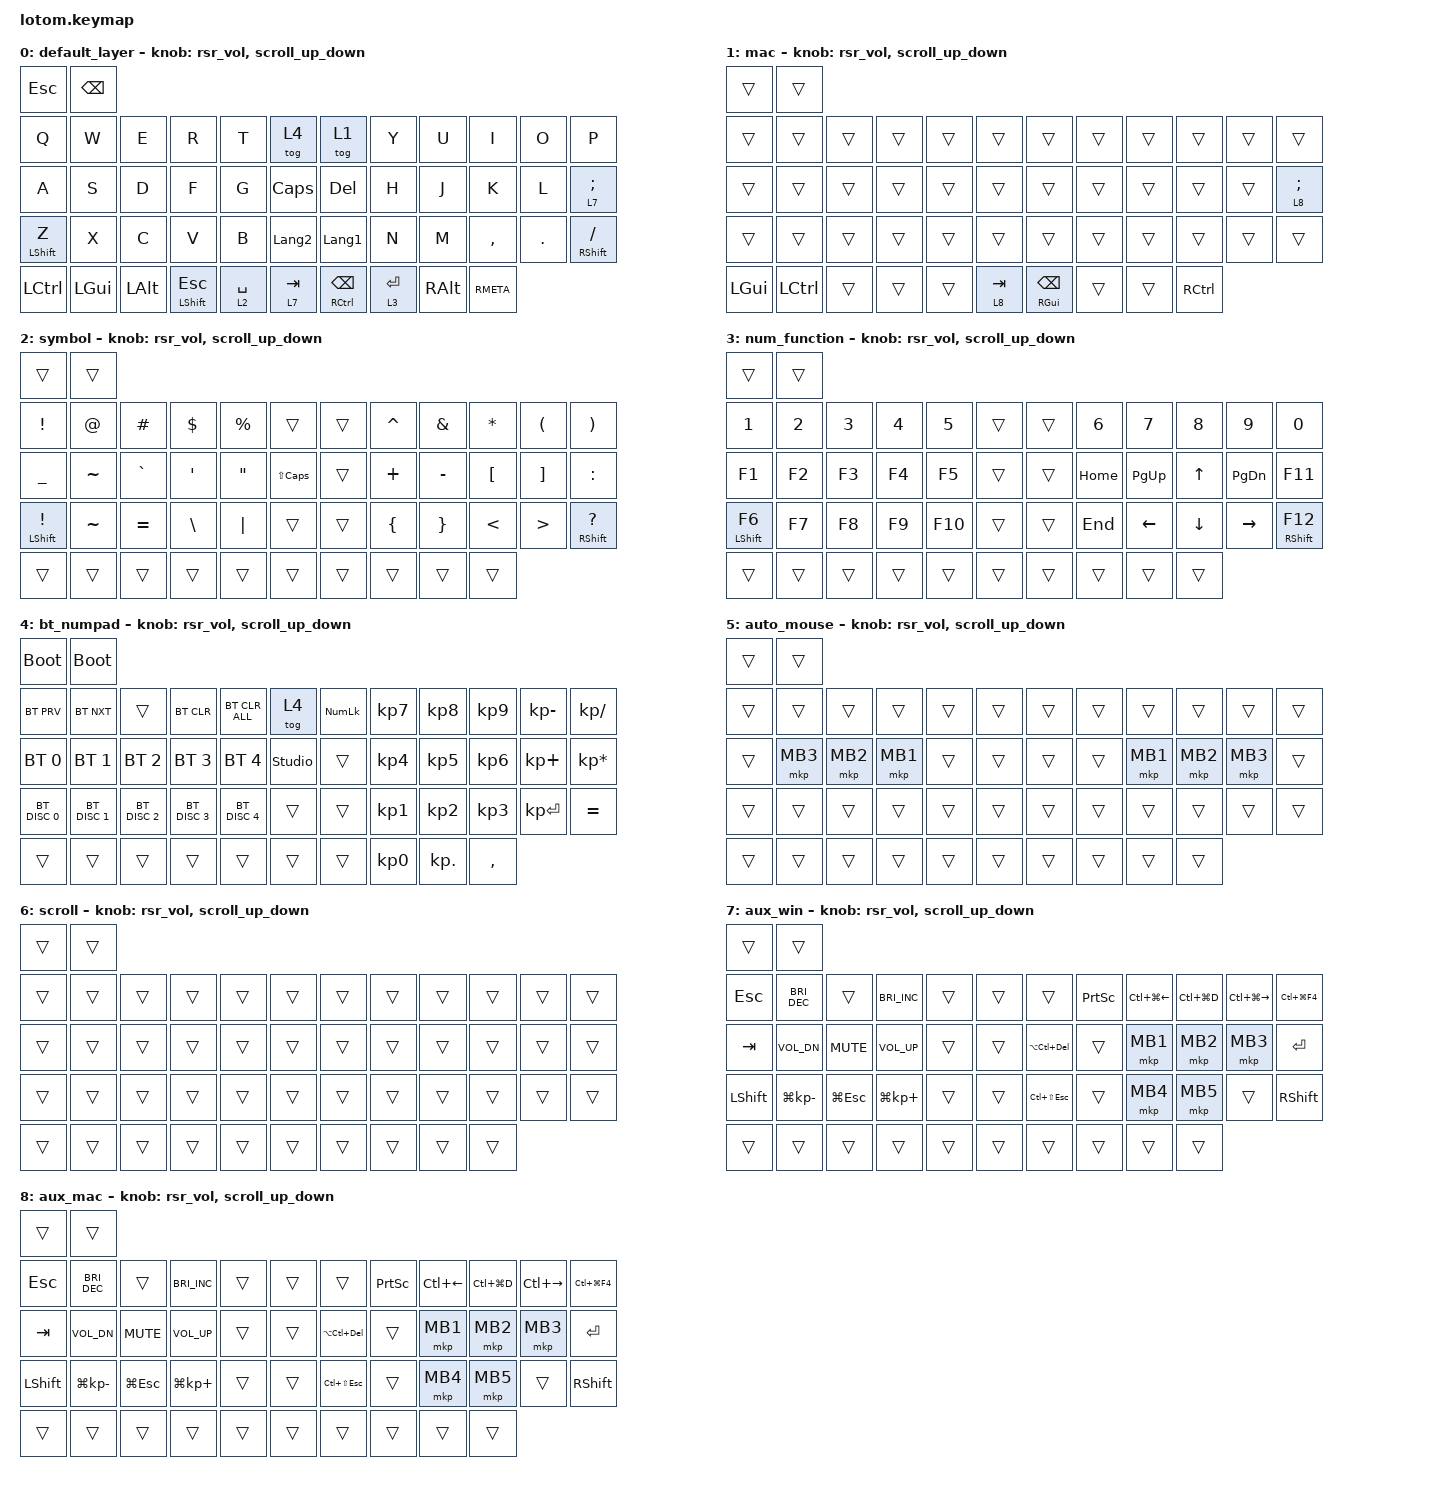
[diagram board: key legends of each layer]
#include <behaviors.dtsi>
#include <dt-bindings/zmk/bt.h>
#include <dt-bindings/zmk/keys.h>
#include <dt-bindings/zmk/pointing.h>
#include <behaviors/runtime-sensor-rotate.dtsi>

#define ZMK_POINTING_DEFAULT_SCRL_VAL 80

&mt {
    quick-tap-ms = <300>;
    flavor = "balanced";
};

&lt { quick-tap-ms = <300>; };

/ {
    behaviors {
        scroll_up_down: mouse_wheel_up_down {
            compatible = "zmk,behavior-runtime-sensor-rotate";
            #sensor-binding-cells = <0>;
            tap-ms = <20>;
            cw-binding = <&msc SCRL_DOWN>;
            ccw-binding = <&msc SCRL_UP>;
        };

        rsr_vol: rsr_vol {
            compatible = "zmk,behavior-runtime-sensor-rotate";
            #sensor-binding-cells = <0>;
            tap-ms = <5>;
            cw-binding = <&kp C_VOL_UP>;
            ccw-binding = <&kp C_VOL_DN>;
        };
    };

    combos {
        compatible = "zmk,combos";

        scroll {
            bindings = <&mo 6>;
            key-positions = <23 24>;
        };

        bs {
            bindings = <&kp BACKSPACE>;
            key-positions = <13 12>;
        };

        del {
            bindings = <&kp DELETE>;
            key-positions = <12 11>;
        };

        enter {
            bindings = <&kp ENTER>;
            key-positions = <25 24>;
        };

        esc {
            bindings = <&kp ESC>;
            key-positions = <2 3>;
        };

        tab {
            bindings = <&kp TAB>;
            key-positions = <14 15>;
        };

        s+tab {
            bindings = <&kp LS(TAB)>;
            key-positions = <26 27>;
        };

        lang2 {
            bindings = <&kp LANGUAGE_2>;
            key-positions = <17 16>;
        };

        lang1 {
            bindings = <&kp LANGUAGE_1>;
            key-positions = <22 23>;
        };
    };

    keymap {
        compatible = "zmk,keymap";

        default_layer {
            bindings = <
&kp ESCAPE   &kp BACKSPACE
&kp Q        &kp W          &kp E         &kp R                  &kp T        &tog 4          &tog 1               &kp Y        &kp U          &kp I      &kp O    &kp P
&kp A        &kp S          &kp D         &kp F                  &kp G        &kp CAPS        &kp DELETE           &kp H        &kp J          &kp K      &kp L    &lt 7 SEMICOLON
&mt LSHFT Z  &kp X          &kp C         &kp V                  &kp B        &kp LANGUAGE_2  &kp LANGUAGE_1       &kp N        &kp M          &kp COMMA  &kp DOT  &mt RSHFT SLASH
&kp LCTRL    &kp LEFT_GUI   &kp LEFT_ALT  &mt LEFT_SHIFT ESCAPE  &lt 2 SPACE  &lt 7 TAB       &mt RCTRL BACKSPACE  &lt 3 ENTER  &kp RIGHT_ALT  &kp RMETA
            >;

            sensor-bindings = <
                &rsr_vol
                &scroll_up_down
            >;
        };

        mac {
            bindings = <
&trans    &trans
&trans    &trans     &trans  &trans  &trans  &trans     &trans              &trans  &trans  &trans     &trans  &trans
&trans    &trans     &trans  &trans  &trans  &trans     &trans              &trans  &trans  &trans     &trans  &lt 8 SEMICOLON
&trans    &trans     &trans  &trans  &trans  &trans     &trans              &trans  &trans  &trans     &trans  &trans
&kp LGUI  &kp LCTRL  &trans  &trans  &trans  &lt 8 TAB  &mt RGUI BACKSPACE  &trans  &trans  &kp RCTRL
            >;

            sensor-bindings = <
                &rsr_vol
                &scroll_up_down
            >;
        };

        symbol {
            bindings = <
&trans                  &trans
&kp EXCLAMATION         &kp AT_SIGN  &kp HASH   &kp DOLLAR     &kp PERCENT        &trans        &trans  &kp CARET       &kp AMPERSAND    &kp ASTERISK      &kp LEFT_PARENTHESIS  &kp RIGHT_PARENTHESIS
&kp UNDERSCORE          &kp TILDE    &kp GRAVE  &kp SQT        &kp DOUBLE_QUOTES  &kp LS(CAPS)  &trans  &kp PLUS        &kp MINUS        &kp LEFT_BRACKET  &kp RIGHT_BRACKET     &kp COLON
&mt LSHIFT EXCLAMATION  &kp TILDE    &kp EQUAL  &kp BACKSLASH  &kp PIPE           &trans        &trans  &kp LEFT_BRACE  &kp RIGHT_BRACE  &kp LESS_THAN     &kp GREATER_THAN      &mt RSHIFT QUESTION
&trans                  &trans       &trans     &trans         &trans             &trans        &trans  &trans          &trans           &trans
            >;

            sensor-bindings = <
                &rsr_vol
                &scroll_up_down
            >;
        };

        num_function {
            bindings = <
&trans         &trans
&kp NUMBER_1   &kp NUMBER_2  &kp NUMBER_3  &kp NUMBER_4  &kp N5   &trans  &trans  &kp NUMBER_6  &kp N7       &kp N8        &kp N9         &kp N0
&kp F1         &kp F2        &kp F3        &kp F4        &kp F5   &trans  &trans  &kp HOME      &kp PAGE_UP  &kp UP_ARROW  &kp PAGE_DOWN  &kp F11
&mt LSHIFT F6  &kp F7        &kp F8        &kp F9        &kp F10  &trans  &trans  &kp END       &kp LEFT     &kp DOWN      &kp RIGHT      &mt RSHIFT F12
&trans         &trans        &trans        &trans        &trans   &trans  &trans  &trans        &trans       &trans
            >;

            sensor-bindings = <
                &rsr_vol
                &scroll_up_down
            >;
        };

        bt_numpad {
            bindings = <
&bootloader    &bootloader
&bt BT_PRV     &bt BT_NXT     &trans         &bt BT_CLR     &bt BT_CLR_ALL  &tog 4          &kp KP_NUMLOCK  &kp KP_NUMBER_7  &kp KP_NUMBER_8  &kp KP_NUMBER_9  &kp KP_MINUS  &kp KP_SLASH
&bt BT_SEL 0   &bt BT_SEL 1   &bt BT_SEL 2   &bt BT_SEL 3   &bt BT_SEL 4    &studio_unlock  &trans          &kp KP_NUMBER_4  &kp KP_NUMBER_5  &kp KP_NUMBER_6  &kp KP_PLUS   &kp KP_ASTERISK
&bt BT_DISC 0  &bt BT_DISC 1  &bt BT_DISC 2  &bt BT_DISC 3  &bt BT_DISC 4   &trans          &trans          &kp KP_NUMBER_1  &kp KP_NUMBER_2  &kp KP_NUMBER_3  &kp KP_ENTER  &kp EQUAL
&trans         &trans         &trans         &trans         &trans          &trans          &trans          &kp KP_NUMBER_0  &kp KP_DOT       &kp COMMA
            >;

            sensor-bindings = <
                &rsr_vol
                &scroll_up_down
            >;
        };

        auto_mouse {
            bindings = <
&trans  &trans
&trans  &trans    &trans    &trans    &trans  &trans  &trans  &trans  &trans    &trans    &trans    &trans
&trans  &mkp MB3  &mkp MB2  &mkp MB1  &trans  &trans  &trans  &trans  &mkp MB1  &mkp MB2  &mkp MB3  &trans
&trans  &trans    &trans    &trans    &trans  &trans  &trans  &trans  &trans    &trans    &trans    &trans
&trans  &trans    &trans    &trans    &trans  &trans  &trans  &trans  &trans    &trans
            >;

            sensor-bindings = <
                &rsr_vol
                &scroll_up_down
            >;
        };

        scroll {
            bindings = <
&trans  &trans
&trans  &trans  &trans  &trans  &trans  &trans  &trans  &trans  &trans  &trans  &trans  &trans
&trans  &trans  &trans  &trans  &trans  &trans  &trans  &trans  &trans  &trans  &trans  &trans
&trans  &trans  &trans  &trans  &trans  &trans  &trans  &trans  &trans  &trans  &trans  &trans
&trans  &trans  &trans  &trans  &trans  &trans  &trans  &trans  &trans  &trans
            >;

            sensor-bindings = <
                &rsr_vol
                &scroll_up_down
            >;
        };

        aux_win {
            bindings = <
&trans      &trans
&kp ESCAPE  &kp C_BRI_DEC     &trans          &kp C_BRI_INC    &trans  &trans  &trans              &kp PRINTSCREEN  &kp LC(LG(LEFT))  &kp LC(LG(D))  &kp LC(LG(RIGHT))  &kp LC(LG(F4))
&kp TAB     &kp C_VOL_DN      &kp C_MUTE      &kp C_VOLUME_UP  &trans  &trans  &kp LA(LC(DELETE))  &trans           &mkp MB1          &mkp MB2       &mkp MB3           &kp ENTER
&kp LSHIFT  &kp LG(KP_MINUS)  &kp LG(ESCAPE)  &kp LG(KP_PLUS)  &trans  &trans  &kp LC(LS(ESCAPE))  &trans           &mkp MB4          &mkp MB5       &trans             &kp RSHIFT
&trans      &trans            &trans          &trans           &trans  &trans  &trans              &trans           &trans            &trans
            >;

            sensor-bindings = <
                &rsr_vol
                &scroll_up_down
            >;
        };

        aux_mac {
            bindings = <
&trans      &trans
&kp ESCAPE  &kp C_BRI_DEC     &trans          &kp C_BRI_INC    &trans  &trans  &trans              &kp PRINTSCREEN  &kp LC(LEFT)  &kp LC(LG(D))  &kp LC(RIGHT)  &kp LC(LG(F4))
&kp TAB     &kp C_VOL_DN      &kp C_MUTE      &kp C_VOLUME_UP  &trans  &trans  &kp LA(LC(DELETE))  &trans           &mkp MB1      &mkp MB2       &mkp MB3       &kp ENTER
&kp LSHIFT  &kp LG(KP_MINUS)  &kp LG(ESCAPE)  &kp LG(KP_PLUS)  &trans  &trans  &kp LC(LS(ESCAPE))  &trans           &mkp MB4      &mkp MB5       &trans         &kp RSHIFT
&trans      &trans            &trans          &trans           &trans  &trans  &trans              &trans           &trans        &trans
            >;

            sensor-bindings = <
                &rsr_vol
                &scroll_up_down
            >;
        };

    };

};
